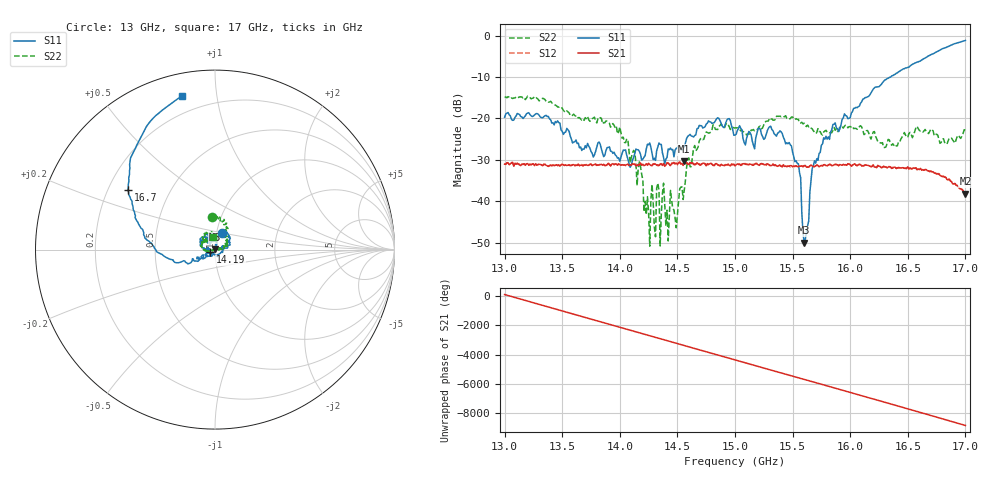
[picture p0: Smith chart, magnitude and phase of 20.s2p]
!Keysight Technologies,P9374A,MY57211807,A.19.30.04
!Date: Friday, May 01, 2026 14:11:50
!Correction: S11(C  2-Port  )
!S21(C  2-Port  )
!S12(C  2-Port  )
!S22(C  2-Port  )
!S2P File: Measurements: S11, S21, S12, S22:
# Hz S  RI  R 50
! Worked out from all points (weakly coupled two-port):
!   401 points, 13 GHz to 17 GHz, reference 50 ohm
!   highest |S21| = -30.35 dB at 14.56 GHz (marker M1); lowest = -38.1 dB at 17 GHz (marker M2)
!   lowest |S11| = -50.0 dB at 15.6 GHz (marker M3), VSWR 1.01, Z = 49.8 + j0.2 ohm
!   |S11| at or under -10 dB: start of sweep to 16.35 GHz
!   |S22| runs from -50.8 to -14.6 dB; largest |S21 - S12| = 0.0016
!   S11 on the Smith chart (normalised r, x): 13 GHz: 1.06, +0.20; 14.19 GHz: 0.94, -0.03; 16.7 GHz: 0.28, +0.29; 17 GHz: 0.11, +0.80
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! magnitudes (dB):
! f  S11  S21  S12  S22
! 13 GHz  -19.7  -31.0  -30.9  -14.9
! 13.37 GHz  -19.6  -31.4  -31.5  -15.8
! 13.67 GHz  -27.7  -31.3  -31.1  -20.4
! 13.95 GHz  -28.1  -31.2  -31.1  -21.6
! 14.19 GHz  -30.1  -31.3  -31.2  -33.5
! 14.24 GHz  -26.2  -31.2  -31.3  -38.9
! 14.34 GHz  -25.9  -31.4  -31.3  -37.4
! 14.48 GHz  -27.6  -30.9  -31.0  -44.0
! 14.56 GHz  -26.9  -30.3  -30.3  -37.3
! 14.71 GHz  -21.8  -31.0  -31.0  -24.7
! 14.94 GHz  -20.1  -31.2  -31.0  -21.5
! 15 GHz  -24.0  -31.4  -31.3  -22.3
! 15.31 GHz  -21.9  -31.4  -31.4  -20.1
! 15.47 GHz  -25.8  -31.5  -31.5  -20.1
! 15.55 GHz  -31.0  -31.6  -31.6  -20.2
! 15.6 GHz  -50.0  -31.5  -31.4  -21.2
! 15.62 GHz  -47.6  -31.7  -31.6  -22.0
! 15.67 GHz  -32.1  -31.5  -31.4  -22.5
! 15.85 GHz  -21.5  -31.4  -31.4  -22.9
! 16.34 GHz  -10.1  -31.7  -31.6  -25.2
! 16.7 GHz  -4.6  -32.8  -32.7  -22.6
! 17 GHz  -1.2  -38.1  -38.2  -22.9
